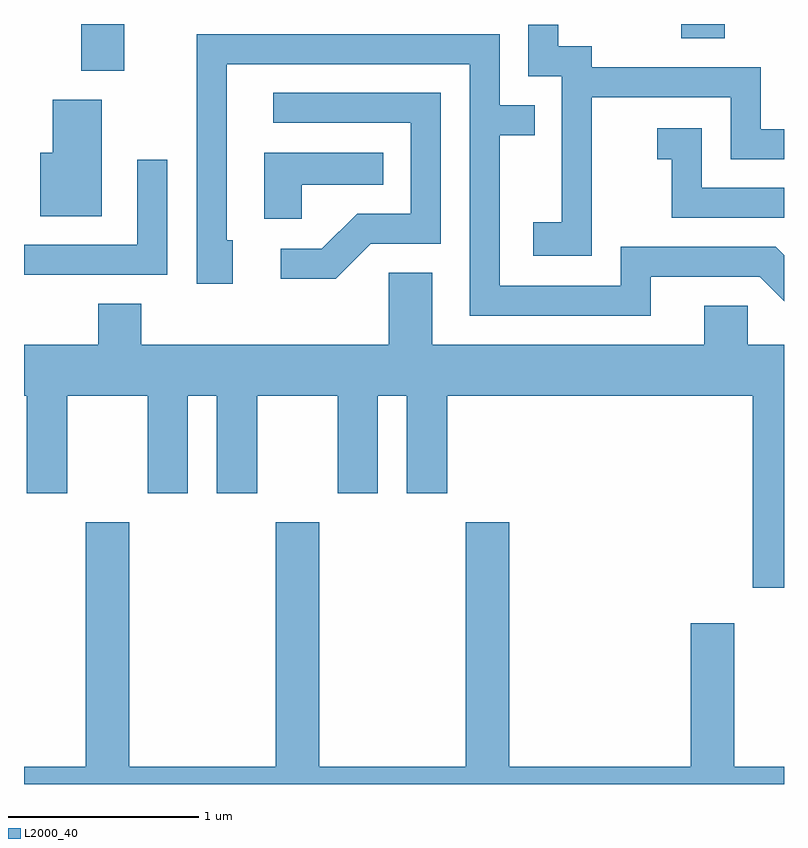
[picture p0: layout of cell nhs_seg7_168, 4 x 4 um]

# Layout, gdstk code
import gdstk
lib = gdstk.Library(unit=1e-6, precision=1e-09)
def R(c, l, rs):  # rectangles x0, y0, x1, y1
    for r in rs: c.add(gdstk.rectangle(r[:2], r[2:], *l))
def P(c, l, *ps):  # polygons
    for p in ps: c.add(gdstk.Polygon(p, *l))
L2000_40 = (2000, 40)

nhs_seg7_168 = lib.new_cell('nhs_seg7_168')
R(nhs_seg7_168, L2000_40, [(189.911,1736.006,190.139,1736.252), (193.071,1736.176,193.299,1736.252)])
P(nhs_seg7_168, L2000_40, [(192.599,1735.866),(193.331,1735.866),(193.331,1735.541),(193.611,1735.541),(193.611,1735.699),(193.489,1735.699),(193.489,1736.024),(192.599,1736.024),(192.599,1736.134),(192.424,1736.134),(192.424,1736.248),(192.266,1736.248),(192.266,1735.976),(192.441,1735.976),(192.441,1735.209),(192.291,1735.209),(192.291,1735.031),(192.599,1735.031)],
  [(192.909,1734.921),(193.484,1734.921),(193.611,1734.794),(193.611,1735.035),(193.567,1735.079),(192.751,1735.079),(192.751,1734.874),(192.114,1734.874),(192.114,1735.666),(192.298,1735.666),(192.298,1735.824),(192.114,1735.824),(192.114,1736.199),(190.521,1736.199),(190.521,1734.886),(190.709,1734.886),(190.709,1735.114),(190.679,1735.114),(190.679,1736.041),(191.956,1736.041),(191.956,1734.716),(192.909,1734.716)],
  [(191.437,1735.096),(191.804,1735.096),(191.804,1735.889),(190.923,1735.889),(190.923,1735.731),(191.646,1735.731),(191.646,1735.254),(191.364,1735.254),(191.179,1735.069),(190.963,1735.069),(190.963,1734.911),(191.252,1734.911)],
  [(190.019,1735.854),(189.761,1735.854),(189.761,1735.574),(189.696,1735.574),(189.696,1735.241),(190.019,1735.241)],
  [(193.611,1735.389),(193.179,1735.389),(193.179,1735.704),(192.943,1735.704),(192.943,1735.541),(193.021,1735.541),(193.021,1735.231),(193.611,1735.231)],
  [(191.074,1735.406),(191.503,1735.406),(191.503,1735.574),(190.876,1735.574),(190.876,1735.226),(191.074,1735.226)],
  [(190.364,1735.538),(190.206,1735.538),(190.206,1735.089),(189.611,1735.089),(189.611,1734.931),(190.364,1734.931)],
  [(193.611,1734.564),(193.419,1734.564),(193.419,1734.769),(193.191,1734.769),(193.191,1734.564),(191.759,1734.564),(191.759,1734.944),(191.531,1734.944),(191.531,1734.564),(190.229,1734.564),(190.229,1734.779),(190.001,1734.779),(190.001,1734.564),(189.611,1734.564),(189.611,1734.296),(189.626,1734.296),(189.626,1733.781),(189.839,1733.781),(189.839,1734.296),(190.261,1734.296),(190.261,1733.781),(190.474,1733.781),(190.474,1734.296),(190.626,1734.296),(190.626,1733.781),(190.839,1733.781),(190.839,1734.296),(191.261,1734.296),(191.261,1733.781),(191.474,1733.781),(191.474,1734.296),(191.626,1734.296),(191.626,1733.781),(191.839,1733.781),(191.839,1734.296),(193.446,1734.296),(193.446,1733.286),(193.611,1733.286)],
  [(193.611,1732.344),(193.349,1732.344),(193.349,1733.099),(193.121,1733.099),(193.121,1732.344),(192.164,1732.344),(192.164,1733.629),(191.936,1733.629),(191.936,1732.344),(191.164,1732.344),(191.164,1733.629),(190.936,1733.629),(190.936,1732.344),(190.164,1732.344),(190.164,1733.629),(189.936,1733.629),(189.936,1732.344),(189.611,1732.344),(189.611,1732.252),(193.611,1732.252)])

lib.write_gds('nhs_seg7_168.gds')
